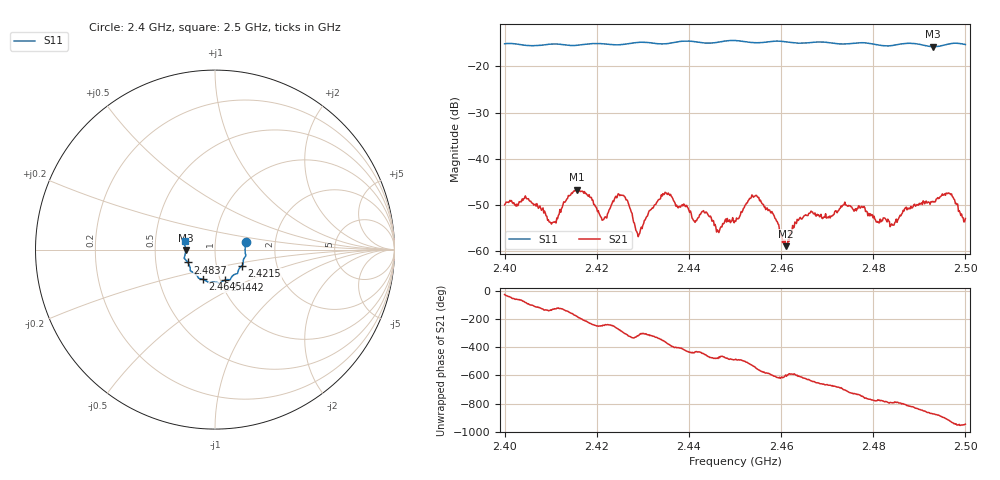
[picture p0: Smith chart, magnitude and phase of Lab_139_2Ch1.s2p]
# Hz S RI R 50
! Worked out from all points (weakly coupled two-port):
!   601 points, 2.4 GHz to 2.5 GHz, reference 50 ohm
!   highest |S21| = -46.72 dB at 2.4157 GHz (marker M1); lowest = -59.0 dB at 2.461 GHz (marker M2)
!   lowest |S11| = -15.7 dB at 2.493 GHz (marker M3), VSWR 1.39, Z = 35.9 - j0.221 ohm
!   |S11| at or under -10 dB: start of sweep to end of sweep
!   S12 and S22 are empty: the file has one direction only
!   S11 on the Smith chart (normalised r, x): 2.4 GHz: 1.41, +0.12; 2.4215 GHz: 1.33, -0.25; 2.4442 GHz: 1.05, -0.37; 2.4645 GHz: 0.83, -0.29; 2.4837 GHz: 0.73, -0.11; 2.5 GHz: 0.71, +0.07
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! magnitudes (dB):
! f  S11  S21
! 2.4 GHz  -15.1  -50.0
! 2.4048 GHz  -15.5  -48.7
! 2.4107 GHz  -15.1  -53.7
! 2.4157 GHz  -15.4  -46.7
! 2.4167 GHz  -15.3  -47.1
! 2.4215 GHz  -15.1  -53.2
! 2.4257 GHz  -15.2  -47.9
! 2.429 GHz  -14.8  -56.9
! 2.4333 GHz  -15.1  -49.0
! 2.4442 GHz  -15.0  -52.2
! 2.4463 GHz  -14.8  -55.7
! 2.45 GHz  -14.4  -53.4
! 2.4547 GHz  -14.9  -48.0
! 2.461 GHz  -14.7  -59.0
! 2.4645 GHz  -15.0  -53.1
! 2.4667 GHz  -14.8  -51.5
! 2.4742 GHz  -15.1  -50.1
! 2.4833 GHz  -15.6  -53.5
! 2.4837 GHz  -15.5  -54.8
! 2.493 GHz  -15.7  -49.4
! 2.4965 GHz  -15.1  -47.5
! 2.5 GHz  -15.3  -53.0
